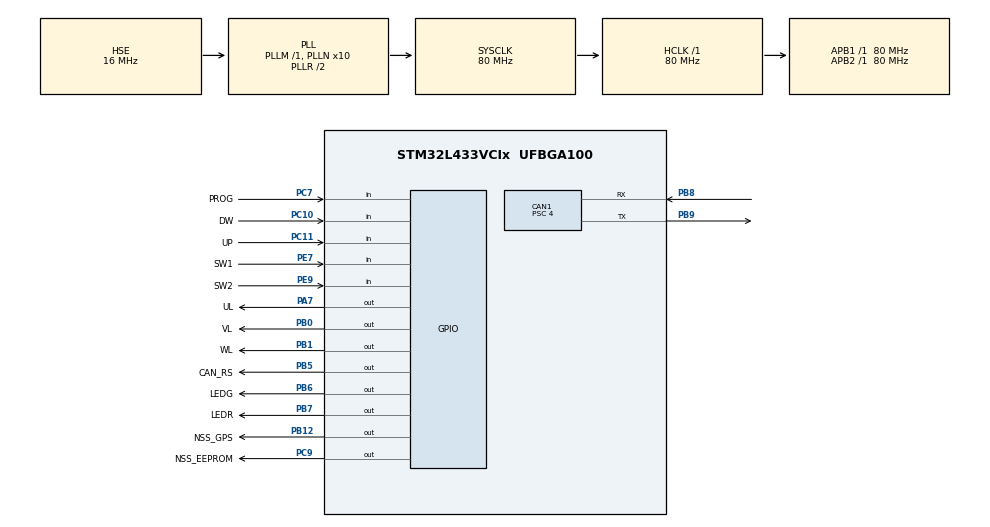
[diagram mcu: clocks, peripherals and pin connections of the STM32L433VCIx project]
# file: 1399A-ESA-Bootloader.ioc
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CAN1.BS1=CAN_BS1_16TQ
CAN1.BS2=CAN_BS2_3TQ
CAN1.CalculateBaudRate=1000000
CAN1.CalculateTimeBit=1000
CAN1.CalculateTimeQuantum=50.0
CAN1.NART=ENABLE
CAN1.Prescaler=4
CRC.InputDataFormat=CRC_INPUTDATA_FORMAT_WORDS
Mcu.Family=STM32L4
Mcu.Name=STM32L433VCIx
Mcu.Package=UFBGA100
NVIC.PriorityGroup=NVIC_PRIORITYGROUP_4
PA1.GPIO_Label=VOLTS_IN
PA1.Signal=ADCx_IN6
PA10.GPIO_Label=WH
PA10.Signal=S_TIM1_CH3
PA12.GPIO_Label=CPOUT
PA12.Signal=S_TIM1_ETR
PA13\ (JTMS-SWDIO).GPIO_Label=TMS
PA13\ (JTMS-SWDIO).Mode=Serial_Wire
PA13\ (JTMS-SWDIO).Signal=SYS_JTMS-SWDIO
PA14\ (JTCK-SWCLK).GPIO_Label=TCK
PA14\ (JTCK-SWCLK).Mode=Serial_Wire
PA14\ (JTCK-SWCLK).Signal=SYS_JTCK-SWCLK
PA15\ (JTDI).GPIO_Label=H1
PA15\ (JTDI).Signal=S_TIM2_CH1
PA2.Signal=USART2_TX
PA3.Signal=USART2_RX
PA4.GPIO_Label=CURR_REF
PA4.Signal=COMP_DAC11_group
PA5.GPIO_Label=POT_OUT
PA5.Signal=COMP_DAC12_group
PA7.GPIO_Label=UL
PA7.GPIO_Speed=GPIO_SPEED_FREQ_HIGH
PA7.Signal=GPIO_Output
PA8.GPIO_Label=UH
PA8.Signal=S_TIM1_CH1
PA9.GPIO_Label=VH
PA9.Signal=S_TIM1_CH2
PB0.GPIO_Label=VL
PB0.GPIO_Speed=GPIO_SPEED_FREQ_HIGH
PB0.Signal=GPIO_Output
PB1.GPIO_Label=WL
PB1.GPIO_Speed=GPIO_SPEED_FREQ_HIGH
PB1.Signal=GPIO_Output
PB10.GPIO_Label=H3
PB10.Signal=S_TIM2_CH3
PB12.GPIO_Label=NSS_GPS
PB12.GPIO_Speed=GPIO_SPEED_FREQ_VERY_HIGH
PB12.Signal=GPIO_Output
PB13.GPIO_Label=SPI_SCK
PB13.Signal=SPI2_SCK
PB14.GPIO_Label=SPI_MISO
PB14.Signal=SPI2_MISO
PB15.GPIO_Label=SPI_MOSI
PB15.Signal=SPI2_MOSI
PB3\ (JTDO-TRACESWO).GPIO_Label=H2
PB3\ (JTDO-TRACESWO).Signal=S_TIM2_CH2
PB5.GPIO_Label=CAN_RS
PB5.Signal=GPIO_Output
PB6.GPIO_Label=LEDG
PB6.Signal=GPIO_Output
PB7.GPIO_Label=LEDR
PB7.Signal=GPIO_Output
PB8.Mode=CAN_Activate
PB8.Signal=CAN1_RX
PB9.Mode=CAN_Activate
PB9.Signal=CAN1_TX
PC0.GPIO_Label=CURR_REF
PC0.Signal=ADCx_IN1
PC1.GPIO_Label=CURR_IN
PC1.Signal=ADCx_IN2
PC10.GPIO_Label=DW
PC10.Signal=GPIO_Input
PC11.GPIO_Label=UP
PC11.Signal=GPIO_Input
PC2.GPIO_Label=PCB_TEMP
PC2.Signal=ADCx_IN3
PC3.GPIO_Label=MOT_TEMP
PC3.Signal=ADCx_IN4
PC7.GPIO_Label=PROG
PC7.GPIO_PuPd=GPIO_PULLUP
PC7.Signal=GPIO_Input
PC9.GPIO_Label=NSS_EEPROM
PC9.GPIO_Speed=GPIO_SPEED_FREQ_HIGH
PC9.Signal=GPIO_Output
PE7.GPIO_Label=SW1
PE7.Signal=GPIO_Input
PE9.GPIO_Label=SW2
PE9.Signal=GPIO_Input
PH0-OSC_IN\ (PH0).Mode=HSE-External-Oscillator
PH0-OSC_IN\ (PH0).Signal=RCC_OSC_IN
PH1-OSC_OUT\ (PH1).Mode=HSE-External-Oscillator
PH1-OSC_OUT\ (PH1).Signal=RCC_OSC_OUT
ProjectManager.HeapSize=0x200
ProjectManager.StackSize=0x400
ProjectManager.TargetToolchain=STM32CubeIDE
RCC.ADCFreq_Value=64000000
RCC.AHBFreq_Value=80000000
RCC.APB1Freq_Value=80000000
RCC.APB1TimFreq_Value=80000000
RCC.APB2Freq_Value=80000000
RCC.APB2TimFreq_Value=80000000
RCC.CortexFreq_Value=80000000
RCC.HCLKFreq_Value=80000000
RCC.HSE_VALUE=16000000
RCC.HSI48_VALUE=48000000
RCC.HSI_VALUE=16000000
RCC.LSE_VALUE=32768
RCC.MSI_VALUE=4000000
RCC.PLLN=10
RCC.PLLSourceVirtual=RCC_PLLSOURCE_HSE
RCC.PREFETCH_ENABLE=0
RCC.SYSCLKFreq_VALUE=80000000
RCC.SYSCLKSource=RCC_SYSCLKSOURCE_PLLCLK
RCC.USBFreq_Value=64000000
RCC.VCOOutputFreq_Value=160000000
SH.ADCx_IN1.0=ADC1_IN1
SH.ADCx_IN2.0=ADC1_IN2
SH.ADCx_IN3.0=ADC1_IN3
SH.ADCx_IN4.0=ADC1_IN4
SH.ADCx_IN6.0=ADC1_IN6
SH.COMP_DAC11_group.0=DAC1_OUT1
SH.COMP_DAC12_group.0=DAC1_OUT2
SH.S_TIM1_CH1.0=TIM1_CH1
SH.S_TIM1_CH2.0=TIM1_CH2
SH.S_TIM1_CH3.0=TIM1_CH3
SH.S_TIM1_ETR.0=TIM1_ETR
SH.S_TIM2_CH1.0=TIM2_CH1
SH.S_TIM2_CH2.0=TIM2_CH2
SH.S_TIM2_CH3.0=TIM2_CH3
TIM6.AutoReloadPreload=TIM_AUTORELOAD_PRELOAD_DISABLE
TIM6.Period=999
TIM6.Prescaler=799
VP_CRC_VS_CRC.Mode=CRC_Activate
VP_TIM6_VS_ClockSourceINT.Mode=Enable_Timer
board=custom

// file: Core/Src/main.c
/* USER CODE BEGIN Header */
/**
  ******************************************************************************
  * @file           : main.c
  * @brief          : Main program body
  ******************************************************************************
  * @attention
  *
  * Copyright (c) 2023 STMicroelectronics.
  * All rights reserved.
  *
  * This software is licensed under terms that can be found in the LICENSE file
  * in the root directory of this software component.
  * If no LICENSE file comes with this software, it is provided AS-IS.
  *
  ******************************************************************************
  */
/* USER CODE END Header */
#include <led_driver.h>
#include "main.h"

/* USER CODE BEGIN Includes */
#include "memory_layout.h"
#include "memory_checks.h"
#include "can_diagnostics.h"

/* USER CODE END Includes */

CRC_HandleTypeDef hcrc __attribute__((section (".crcHandleStorageSection")));
CAN_HandleTypeDef hcan1;
TIM_HandleTypeDef htim6;

void SystemClock_Config(void);
static void MX_GPIO_Init(void);
static void MX_CAN1_Init(void);
static void MX_TIM6_Init(void);
static void MX_CRC_Init(void);

int main(void)
{
uint8_t runApplication = 0;
typedef void (*pFunction)(void);

  /* USER CODE BEGIN 1 */
	//check for app entry
	uint32_t *memPtr;
	memPtr = (uint32_t*)STACK_AREA_WATERMARK_ADDR;
	//check stack are for watermark value
	if(*memPtr != 0xDEADBEEF) {
		//check code present flag
		memPtr = (uint32_t*)APP_PRESENT_MARKER_ADDR;
		if(*memPtr == 0xDEADBEEF) {
			runApplication = 1;
		}
	} else {
		//we are here due to app calling bootloader, so continue
		*memPtr = 0x0;
	}

  /* USER CODE END 1 */

  /* MCU Configuration--------------------------------------------------------*/

  /* Reset of all peripherals, Initializes the Flash interface and the Systick. */
  HAL_Init();

  /* Configure the system clock */
  SystemClock_Config();

  /* Initialize all configured peripherals */
  MX_GPIO_Init();
  MX_CAN1_Init();
  MX_TIM6_Init();
  MX_CRC_Init();

  /* Infinite loop */
  /* USER CODE BEGIN WHILE */
  HAL_TIM_Base_Start(&htim6);
  __HAL_TIM_SET_COUNTER(&htim6,0);  // set the counter value to 0

  if(runApplication) {
  	//code is present so we can run run the application if OK
	//check SRAM is OK before running the application

	if(Do_Sram_Pattern_Test(&hcrc) == SRAM_TEST_RESULT_PASS) {
		//SRAM test passed so check flash image CRC
		//Do flash CRC test...
		Set_CRC_Instance(&hcrc);
		Set_CRC_Start_Address((uint32_t) ADDR_FLASH_APPLICATION_CODE_START);
		Set_CRC_End_Address((uint32_t) ADDR_FLASH_APPLICATION_CODE_END);
		Start_CRC_Calculation ();
		uint32_t *expectedCrcMemPtr;
		expectedCrcMemPtr = (uint32_t*)FLASH_CHECKSUM_MARKER_ADDR;
		uint32_t calcChecksum = Report_CRC_Result_Value();
		uint32_t storedChecksum = *expectedCrcMemPtr;

//		if(storedChecksum == 0xFFFFFFFF) {
//			//flash is erased but App is valid due to debugger connected
//			//so OK to run anyway
//			storedChecksum = calcChecksum;
//		}
		if(storedChecksum == calcChecksum) {
			//flash CRC is correct, so OK to run it
			pFunction Jump_To_Application;
			uint32_t JumpAddress;
			// Jump to user application
			JumpAddress = *(__IO uint32_t*) (ADDR_FLASH_APPLICATION_START + 4);
			Jump_To_Application = (pFunction) JumpAddress;
			 //Initialize user application's Stack Pointer
			__set_MSP(*(__IO uint32_t*) ADDR_FLASH_APPLICATION_START);
			Jump_To_Application(); //does not return
		}
	}
  }
  //we are here due to flash checksum failure or SRAM test fail or no flash programmed
  while (1)
  {
    /* USER CODE END WHILE */
    /* USER CODE BEGIN 3 */
	//poll timer to see if 1ms expired
	while (__HAL_TIM_GET_COUNTER(&htim6) < TIMER_1MS_CNT); //hang here for next 1ms to pass
	__HAL_TIM_SET_COUNTER(&htim6,0);  // set the counter value back to 0
	//performed every 1ms
	CAN_RxCheckMsgPendingCallback(&hcan1);  // check if ned CAN data has arrived and process it
	Update_Red_Led_State();   //blink for alive
	Update_Green_Led_State(); //blink for CAN activity
  }
  /* USER CODE END 3 */
}

void SystemClock_Config(void)
{
  RCC_OscInitTypeDef RCC_OscInitStruct = {0};
  RCC_ClkInitTypeDef RCC_ClkInitStruct = {0};

  /** Configure the main internal regulator output voltage
  */
  if (HAL_PWREx_ControlVoltageScaling(PWR_REGULATOR_VOLTAGE_SCALE1) != HAL_OK)
  {
    Error_Handler();
  }

  /** Initializes the RCC Oscillators according to the specified parameters
  * in the RCC_OscInitTypeDef structure.
  */
  RCC_OscInitStruct.OscillatorType = RCC_OSCILLATORTYPE_HSE;
  RCC_OscInitStruct.HSEState = RCC_HSE_ON;
  RCC_OscInitStruct.PLL.PLLState = RCC_PLL_ON;
  RCC_OscInitStruct.PLL.PLLSource = RCC_PLLSOURCE_HSE;
  RCC_OscInitStruct.PLL.PLLM = 1;
  RCC_OscInitStruct.PLL.PLLN = 10;
  RCC_OscInitStruct.PLL.PLLP = RCC_PLLP_DIV7;
  RCC_OscInitStruct.PLL.PLLQ = RCC_PLLQ_DIV2;
  RCC_OscInitStruct.PLL.PLLR = RCC_PLLR_DIV2;
  if (HAL_RCC_OscConfig(&RCC_OscInitStruct) != HAL_OK)
  {
    Error_Handler();
  }

  /** Initializes the CPU, AHB and APB buses clocks
  */
  RCC_ClkInitStruct.ClockType = RCC_CLOCKTYPE_HCLK|RCC_CLOCKTYPE_SYSCLK
                              |RCC_CLOCKTYPE_PCLK1|RCC_CLOCKTYPE_PCLK2;
  RCC_ClkInitStruct.SYSCLKSource = RCC_SYSCLKSOURCE_PLLCLK;
  RCC_ClkInitStruct.AHBCLKDivider = RCC_SYSCLK_DIV1;
  RCC_ClkInitStruct.APB1CLKDivider = RCC_HCLK_DIV1;
  RCC_ClkInitStruct.APB2CLKDivider = RCC_HCLK_DIV1;

  if (HAL_RCC_ClockConfig(&RCC_ClkInitStruct, FLASH_LATENCY_4) != HAL_OK)
  {
    Error_Handler();
  }
}

static void MX_CAN1_Init(void)
{

  hcan1.Instance = CAN1;
  hcan1.Init.Prescaler = 4;
  hcan1.Init.Mode = CAN_MODE_NORMAL;
  hcan1.Init.SyncJumpWidth = CAN_SJW_1TQ;
  hcan1.Init.TimeSeg1 = CAN_BS1_16TQ;
  hcan1.Init.TimeSeg2 = CAN_BS2_3TQ;
  hcan1.Init.TimeTriggeredMode = DISABLE;
  hcan1.Init.AutoBusOff = DISABLE;
  hcan1.Init.AutoWakeUp = DISABLE;
  hcan1.Init.AutoRetransmission = ENABLE;
  hcan1.Init.ReceiveFifoLocked = DISABLE;
  hcan1.Init.TransmitFifoPriority = DISABLE;
  if (HAL_CAN_Init(&hcan1) != HAL_OK)
  {
    Error_Handler();
  }
  /* USER CODE BEGIN CAN1_Init 2 */
  CAN_Init_Diag_Messages(&hcan1);

  /* USER CODE END CAN1_Init 2 */

}

static void MX_CRC_Init(void)
{

  hcrc.Instance = CRC;
  hcrc.Init.DefaultPolynomialUse = DEFAULT_POLYNOMIAL_ENABLE;
  hcrc.Init.DefaultInitValueUse = DEFAULT_INIT_VALUE_ENABLE;
  hcrc.Init.InputDataInversionMode = CRC_INPUTDATA_INVERSION_NONE;
  hcrc.Init.OutputDataInversionMode = CRC_OUTPUTDATA_INVERSION_DISABLE;
  hcrc.InputDataFormat = CRC_INPUTDATA_FORMAT_WORDS;
  if (HAL_CRC_Init(&hcrc) != HAL_OK)
  {
    Error_Handler();
  }
  /* USER CODE BEGIN CRC_Init 2 */
	Set_CRC_Instance(&hcrc);
  /* USER CODE END CRC_Init 2 */

}

static void MX_TIM6_Init(void)
{

  TIM_MasterConfigTypeDef sMasterConfig = {0};

  htim6.Instance = TIM6;
  htim6.Init.Prescaler = 799;
  htim6.Init.CounterMode = TIM_COUNTERMODE_UP;
  htim6.Init.Period = 999;
  htim6.Init.AutoReloadPreload = TIM_AUTORELOAD_PRELOAD_DISABLE;
  if (HAL_TIM_Base_Init(&htim6) != HAL_OK)
  {
    Error_Handler();
  }
  sMasterConfig.MasterOutputTrigger = TIM_TRGO_RESET;
  sMasterConfig.MasterSlaveMode = TIM_MASTERSLAVEMODE_DISABLE;
  if (HAL_TIMEx_MasterConfigSynchronization(&htim6, &sMasterConfig) != HAL_OK)
  {
    Error_Handler();
  }

}

static void MX_GPIO_Init(void)
{
  GPIO_InitTypeDef GPIO_InitStruct = {0};

  /* GPIO Ports Clock Enable */
  __HAL_RCC_GPIOB_CLK_ENABLE();
  __HAL_RCC_GPIOA_CLK_ENABLE();
  __HAL_RCC_GPIOC_CLK_ENABLE();
  __HAL_RCC_GPIOH_CLK_ENABLE();
  __HAL_RCC_GPIOE_CLK_ENABLE();

  /*Configure GPIO pin Output Level */
  HAL_GPIO_WritePin(GPIOB, LEDR_Pin|LEDG_Pin|CAN_RS_Pin|NSS_GPS_Pin
                          |VL_Pin|WL_Pin, GPIO_PIN_RESET);

  /*Configure GPIO pin Output Level */
  HAL_GPIO_WritePin(NSS_EEPROM_GPIO_Port, NSS_EEPROM_Pin, GPIO_PIN_RESET);

  /*Configure GPIO pin Output Level */
  HAL_GPIO_WritePin(UL_GPIO_Port, UL_Pin, GPIO_PIN_RESET);

  /*Configure GPIO pins : H2_Pin H3_Pin */
  GPIO_InitStruct.Pin = H2_Pin|H3_Pin;
  GPIO_InitStruct.Mode = GPIO_MODE_AF_PP;
  GPIO_InitStruct.Pull = GPIO_NOPULL;
  GPIO_InitStruct.Speed = GPIO_SPEED_FREQ_LOW;
  GPIO_InitStruct.Alternate = GPIO_AF1_TIM2;
  HAL_GPIO_Init(GPIOB, &GPIO_InitStruct);

  /*Configure GPIO pin : H1_Pin */
  GPIO_InitStruct.Pin = H1_Pin;
  GPIO_InitStruct.Mode = GPIO_MODE_AF_PP;
  GPIO_InitStruct.Pull = GPIO_NOPULL;
  GPIO_InitStruct.Speed = GPIO_SPEED_FREQ_LOW;
  GPIO_InitStruct.Alternate = GPIO_AF1_TIM2;
  HAL_GPIO_Init(H1_GPIO_Port, &GPIO_InitStruct);

  /*Configure GPIO pins : CPOUT_Pin WH_Pin VH_Pin UH_Pin */
  GPIO_InitStruct.Pin = CPOUT_Pin|WH_Pin|VH_Pin|UH_Pin;
  GPIO_InitStruct.Mode = GPIO_MODE_AF_PP;
  GPIO_InitStruct.Pull = GPIO_NOPULL;
  GPIO_InitStruct.Speed = GPIO_SPEED_FREQ_LOW;
  GPIO_InitStruct.Alternate = GPIO_AF1_TIM1;
  HAL_GPIO_Init(GPIOA, &GPIO_InitStruct);

  /*Configure GPIO pins : LEDR_Pin LEDG_Pin CAN_RS_Pin */
  GPIO_InitStruct.Pin = LEDR_Pin|LEDG_Pin|CAN_RS_Pin;
  GPIO_InitStruct.Mode = GPIO_MODE_OUTPUT_PP;
  GPIO_InitStruct.Pull = GPIO_NOPULL;
  GPIO_InitStruct.Speed = GPIO_SPEED_FREQ_LOW;
  HAL_GPIO_Init(GPIOB, &GPIO_InitStruct);

  /*Configure GPIO pins : DW_Pin UP_Pin */
  GPIO_InitStruct.Pin = DW_Pin|UP_Pin;
  GPIO_InitStruct.Mode = GPIO_MODE_INPUT;
  GPIO_InitStruct.Pull = GPIO_NOPULL;
  HAL_GPIO_Init(GPIOC, &GPIO_InitStruct);

  /*Configure GPIO pin : NSS_EEPROM_Pin */
  GPIO_InitStruct.Pin = NSS_EEPROM_Pin;
  GPIO_InitStruct.Mode = GPIO_MODE_OUTPUT_PP;
  GPIO_InitStruct.Pull = GPIO_NOPULL;
  GPIO_InitStruct.Speed = GPIO_SPEED_FREQ_HIGH;
  HAL_GPIO_Init(NSS_EEPROM_GPIO_Port, &GPIO_InitStruct);

  /*Configure GPIO pin : PROG_Pin */
  GPIO_InitStruct.Pin = PROG_Pin;
  GPIO_InitStruct.Mode = GPIO_MODE_INPUT;
  GPIO_InitStruct.Pull = GPIO_PULLUP;
  HAL_GPIO_Init(PROG_GPIO_Port, &GPIO_InitStruct);

  /*Configure GPIO pins : CURR_REF_Pin CURR_IN_Pin PCB_TEMP_Pin MOT_TEMP_Pin */
  GPIO_InitStruct.Pin = CURR_REF_Pin|CURR_IN_Pin|PCB_TEMP_Pin|MOT_TEMP_Pin;
  GPIO_InitStruct.Mode = GPIO_MODE_ANALOG_ADC_CONTROL;
  GPIO_InitStruct.Pull = GPIO_NOPULL;
  HAL_GPIO_Init(GPIOC, &GPIO_InitStruct);

  /*Configure GPIO pins : PA2 PA3 */
  GPIO_InitStruct.Pin = GPIO_PIN_2|GPIO_PIN_3;
  GPIO_InitStruct.Mode = GPIO_MODE_AF_PP;
  GPIO_InitStruct.Pull = GPIO_NOPULL;
  GPIO_InitStruct.Speed = GPIO_SPEED_FREQ_VERY_HIGH;
  GPIO_InitStruct.Alternate = GPIO_AF7_USART2;
  HAL_GPIO_Init(GPIOA, &GPIO_InitStruct);

  /*Configure GPIO pins : POT_OUT_Pin CURR_REFA4_Pin */
  GPIO_InitStruct.Pin = POT_OUT_Pin|CURR_REFA4_Pin;
  GPIO_InitStruct.Mode = GPIO_MODE_ANALOG;
  GPIO_InitStruct.Pull = GPIO_NOPULL;
  HAL_GPIO_Init(GPIOA, &GPIO_InitStruct);

  /*Configure GPIO pins : SPI_MOSI_Pin SPI_MISO_Pin SPI_SCK_Pin */
  GPIO_InitStruct.Pin = SPI_MOSI_Pin|SPI_MISO_Pin|SPI_SCK_Pin;
  GPIO_InitStruct.Mode = GPIO_MODE_AF_PP;
  GPIO_InitStruct.Pull = GPIO_NOPULL;
  GPIO_InitStruct.Speed = GPIO_SPEED_FREQ_VERY_HIGH;
  GPIO_InitStruct.Alternate = GPIO_AF5_SPI2;
  HAL_GPIO_Init(GPIOB, &GPIO_InitStruct);

  /*Configure GPIO pin : NSS_GPS_Pin */
  GPIO_InitStruct.Pin = NSS_GPS_Pin;
  GPIO_InitStruct.Mode = GPIO_MODE_OUTPUT_PP;
  GPIO_InitStruct.Pull = GPIO_NOPULL;
  GPIO_InitStruct.Speed = GPIO_SPEED_FREQ_VERY_HIGH;
  HAL_GPIO_Init(NSS_GPS_GPIO_Port, &GPIO_InitStruct);

  /*Configure GPIO pin : VOLTS_IN_Pin */
  GPIO_InitStruct.Pin = VOLTS_IN_Pin;
  GPIO_InitStruct.Mode = GPIO_MODE_ANALOG_ADC_CONTROL;
  GPIO_InitStruct.Pull = GPIO_NOPULL;
  HAL_GPIO_Init(VOLTS_IN_GPIO_Port, &GPIO_InitStruct);

  /*Configure GPIO pin : UL_Pin */
  GPIO_InitStruct.Pin = UL_Pin;
  GPIO_InitStruct.Mode = GPIO_MODE_OUTPUT_PP;
  GPIO_InitStruct.Pull = GPIO_NOPULL;
  GPIO_InitStruct.Speed = GPIO_SPEED_FREQ_HIGH;
  HAL_GPIO_Init(UL_GPIO_Port, &GPIO_InitStruct);

  /*Configure GPIO pins : VL_Pin WL_Pin */
  GPIO_InitStruct.Pin = VL_Pin|WL_Pin;
  GPIO_InitStruct.Mode = GPIO_MODE_OUTPUT_PP;
  GPIO_InitStruct.Pull = GPIO_NOPULL;
  GPIO_InitStruct.Speed = GPIO_SPEED_FREQ_HIGH;
  HAL_GPIO_Init(GPIOB, &GPIO_InitStruct);

  /*Configure GPIO pins : SW1_Pin SW2_Pin */
  GPIO_InitStruct.Pin = SW1_Pin|SW2_Pin;
  GPIO_InitStruct.Mode = GPIO_MODE_INPUT;
  GPIO_InitStruct.Pull = GPIO_NOPULL;
  HAL_GPIO_Init(GPIOE, &GPIO_InitStruct);

}

void Error_Handler(void)
{
  __disable_irq();
  while (1)
  {
  }
}
